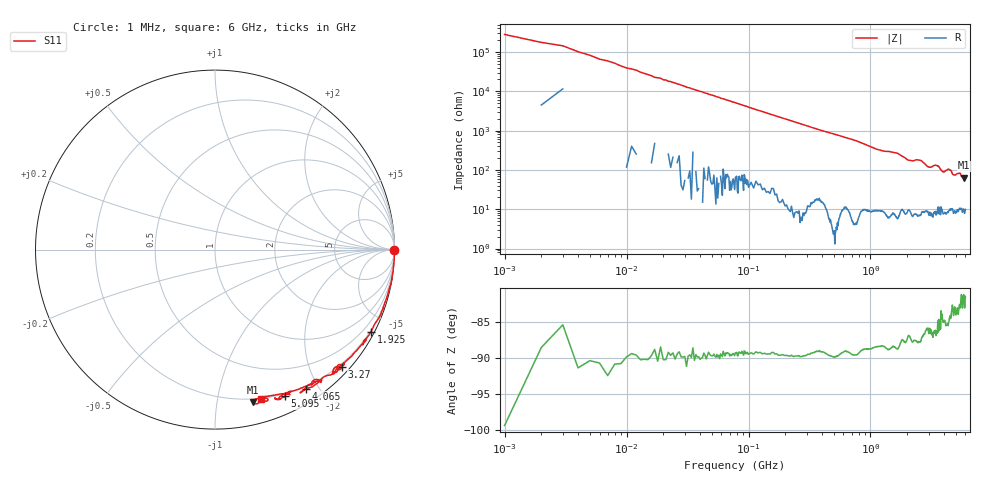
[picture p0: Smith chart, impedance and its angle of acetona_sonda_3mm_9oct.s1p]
! COPPER MOUNTAIN TECHNOLOGIES, R60, 23103002, 24.3.3/3.0
! Date: 9/10/2026 12:07:45
! Data: Format [Calibration Info]
! Frequency		S11: Mag/Ang RO
# HZ S MA R 50
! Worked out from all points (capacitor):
!   1280 points, 1 MHz to 6 GHz, reference 50 ohm
!   read as one part to ground: C = 390 fF near 7 MHz
!   lowest |Z| = 63.7 ohm at 5.865 GHz (marker M1)
!   S11 on the Smith chart (normalised r, x): 1 MHz: open; 1.925 GHz: 0.15, -4.02; 3.27 GHz: 0.14, -2.55; 4.065 GHz: 0.17, -1.84; 5.095 GHz: 0.18, -1.57; 6 GHz: 0.20, -1.33
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1000000  1 -0.0
7.55e8  0.9986 -10.2
1.125e9  0.992 -16.9
1.505e9  0.9911 -20.1
1.675e9  0.9919 -21.5
1.925e9  0.9824 -27.9
2.255e9  0.9777 -32.6
2.59e9  0.9785 -32.1
3.005e9  0.9576 -45.6
3.14e9  0.9522 -45.9
3.27e9  0.9641 -42.7
3.525e9  0.9601 -42.6
3.68e9  0.9525 -46.9
3.755e9  0.9462 -51.4
3.955e9  0.9287 -59.1
4.065e9  0.9269 -56.7
4.325e9  0.9407 -50.9
4.505e9  0.9209 -53.0
4.575e9  0.9225 -54.6
4.745e9  0.8959 -66.2
4.925e9  0.8931 -68.0
5.095e9  0.9036 -64.5
5.255e9  0.9073 -62.8
5.43e9  0.8975 -62.3
5.58e9  0.8644 -72.8
5.71e9  0.8833 -70.6
5.865e9  0.8737 -76.1
6e9  0.869 -73.0
